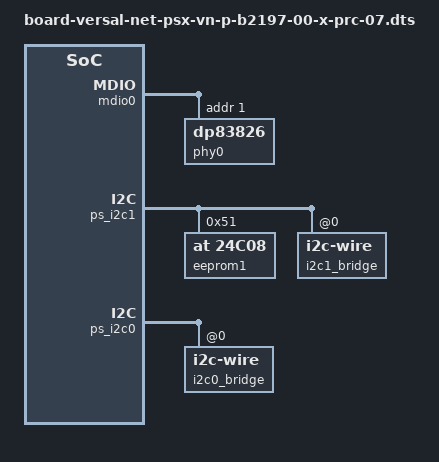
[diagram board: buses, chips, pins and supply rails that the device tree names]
/* X-PRC-07 Daughter Card for vn-p-b2197-00 Board.
 *
 * Copyright (c) 2024, Advanced Micro Devices, Inc
 * All rights reserved.
 *
 * SPDX-License-Identifier: BSD-3-Clause
 */

/*
 * Features
 * 	-OSPI - MT35XU02GCBA1G12-0SIT
 * 	-USB
 * 	-EMMC - MTFC64GAPALBH-IT
 * 	-GEM1
 * 		-GEM_PHY - VSC8540
 * 	-UART0/1
 * 	-BOOT MODE supported: OSPI
 */

#include "board-versal-net-psx-vn-p-b2197-00.dts"

&pmc_qspi_0 {
	/delete-node/ qspi_flash_lcs_lb@0;
	/delete-node/ qspi_flash_lcs_ub@0;
	/delete-node/ qspi_flash_ucs_lb@0;
	/delete-node/ qspi_flash_ucs_ub@0;
};

&ospi {
	/delete-node/ ospi_flash_lcs_ub@0;
	/delete-node/ ospi_flash_ucs_lb@0;
	/delete-node/ ospi_flash_ucs_ub@0;
};

&ospi_flash_lcs_lb {
	compatible = "mt35xu02gbba";
};

&mdio0 {
	/delete-node/ phy@2;
	phy0: phy@1 {
		compatible = "dp83826";
		device_type = "ethernet-phy";
		reg = <1>;
	};
};

&ps_i2c1 {
	eeprom1: eeprom@51 {
		compatible = "at,24c08";
		reg = <0x51>;
		size = <0x2000>;
		blockdev-node-name = "i2c1.eeprom-51";
	};
	i2c1_bridge: i2c1_bridge@0 {
		compatible = "i2c-wire";
		i2cWire-peer = <&i2c0_bridge>;
	};
};

&ps_i2c0 {
	i2c0_bridge: i2c0_bridge@0 {
		compatible = "i2c-wire";
		i2cWire-peer = <&i2c1_bridge>;
	};
};
